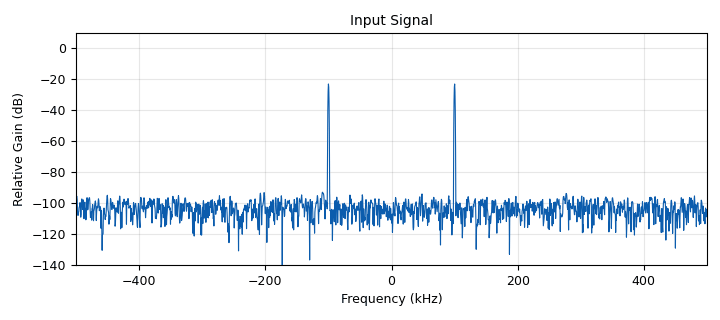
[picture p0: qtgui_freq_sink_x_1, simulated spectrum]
options:
  parameters:
    author: Alekh Gupta
    generate_options: qt_gui
    id: Check
    output_language: python
    title: Non-linear_Two_Tone_Setup
  states: {}

blocks:
- name: K_a
  id: variable_qtgui_range
  parameters:
    gui_hint: '[5,0,1,1]'
    rangeType: int
    start: '1'
    step: '1'
    stop: '10'
    value: '1'
  states: {}
- name: K_b
  id: variable_qtgui_range
  parameters:
    gui_hint: '[5,1,1,1]'
    rangeType: int
    start: '1'
    step: '1'
    stop: '5'
    value: '1'
  states: {}
- name: L_a
  id: variable_qtgui_range
  parameters:
    gui_hint: '[6,0,1,1]'
    rangeType: int
    start: '1'
    step: '1'
    stop: '10'
    value: '1'
  states: {}
- name: L_b
  id: variable_qtgui_range
  parameters:
    gui_hint: '[7,1,1,1]'
    rangeType: int
    start: '1'
    step: '1'
    stop: '5'
    value: '1'
  states: {}
- name: M_b
  id: variable_qtgui_range
  parameters:
    gui_hint: '[6,1,1,1]'
    rangeType: int
    start: '1'
    step: '1'
    stop: '5'
    value: '1'
  states: {}
- name: samp_rate
  id: variable
  parameters:
    value: '1000000'
  states: {}
- name: tone_param_0
  id: variable_qtgui_range
  parameters:
    gui_hint: '[0,0,1,1]'
    label: Tone_Spacing/Freq.
    rangeType: int
    start: '0'
    step: '1000'
    stop: '500000'
    value: '100000'
  states: {}
- name: tone_param_1
  id: variable_qtgui_range
  parameters:
    gui_hint: '[0,1,1,1]'
    label: Amplitude
    start: '0'
    step: '0.01'
    stop: '3'
    value: '0.2'
  states: {}
- name: analog_fastnoise_source_x_0
  id: analog_fastnoise_source_x
  parameters:
    amp: '0.00075'
    noise_type: analog.GR_GAUSSIAN
    samples: '8192'
    seed: '0'
    type: complex
  states: {}
- name: analog_sig_source_x_0
  id: analog_sig_source_x
  parameters:
    amp: tone_param_1
    freq: tone_param_0
    offset: '0'
    phase: '0'
    samp_rate: samp_rate
    type: complex
    waveform: analog.GR_COS_WAVE
  states: {}
- name: analog_sig_source_x_1
  id: analog_sig_source_x
  parameters:
    amp: tone_param_1
    freq: '-tone_param_0'
    offset: '0'
    phase: '0'
    samp_rate: samp_rate
    type: complex
    waveform: analog.GR_COS_WAVE
  states: {}
- name: blocks_add_xx_0
  id: blocks_add_xx
  parameters:
    num_inputs: '3'
    type: complex
  states: {}
- name: blocks_throttle2_0
  id: blocks_throttle2
  parameters:
    samples_per_second: samp_rate
    type: complex
  states: {}
- name: dpd_GMP_model_PA_0
  id: dpd_GMP_model_PA
  parameters:
    coeff1: (1, 1, 1, 1, 1, 1, 1, 1, 1, 1, 1, 1, 1, 1, 1, 1, 1, 1, 1, 1, 1, 1, 1, 1, 1, 1, 1, 1, 1, 1, 1, 1, 1, 1, 1, 1, 1, 1, 1, 1, 1, 1, 1, 1, 1, 1, 1, 1, 1, 1, 1, 1, 1, 1, 1, 1, 1, 1, 1, 1, 1, 1, 1, 1, 1, 1, 1, 1, 1, 1, 1, 1, 1, 1, 1, 1, 1, 1, 1, 1, 1, 1, 1, 1, 1, 1, 1, 1, 1, 1, 1, 1, 1, 1, 1, 1, 1, 1, 1, 1, 1, 1, 1, 1, 1, 1, 1, 1, 1, 1, 1, 1, 1, 1, 1, 1, 1, 1, 1, 1, 1, 1, 1, 1, 1)
    coeff2: (1, 1, 1, 1, 1, 1, 1, 1, 1, 1, 1, 1, 1, 1, 1, 1, 1, 1, 1, 1, 1, 1, 1, 1, 1, 1, 1, 1, 1, 1, 1, 1, 1, 1, 1, 1, 1, 1, 1, 1, 1, 1, 1, 1, 1, 1, 1, 1, 1, 1, 1, 1, 1, 1, 1, 1, 1, 1, 1, 1, 1, 1, 1, 1, 1, 1, 1, 1, 1, 1, 1, 1, 1, 1, 1, 1, 1, 1, 1, 1, 1, 1, 1, 1, 1, 1, 1, 1, 1, 1, 1, 1, 1, 1, 1, 1, 1, 1, 1, 1, 1, 1, 1, 1, 1, 1, 1, 1, 1, 1, 1, 1, 1, 1, 1, 1, 1, 1, 1, 1, 1, 1, 1, 1, 1)
    mode: Both
    model_param1: K_a
    model_param2: L_a
    model_param3: K_b
    model_param4: M_b
    model_param5: L_b
  states: {}
- name: qtgui_freq_sink_x_0
  id: qtgui_freq_sink_x
  parameters:
    bw: samp_rate
    fc: '0'
    fftsize: '2048'
    grid: 'True'
    gui_hint: '[1,1,4,1]'
    name: '"Output Signal"'
    type: complex
  states: {}
- name: qtgui_freq_sink_x_1
  id: qtgui_freq_sink_x
  parameters:
    bw: samp_rate
    fc: '0'
    fftsize: '2048'
    gui_hint: '[1,0,4,1]'
    name: '"Input Signal"'
    type: complex
  states: {}

connections:
- [analog_fastnoise_source_x_0, '0', blocks_add_xx_0, '2']
- [analog_sig_source_x_0, '0', blocks_add_xx_0, '0']
- [analog_sig_source_x_1, '0', blocks_add_xx_0, '1']
- [blocks_add_xx_0, '0', blocks_throttle2_0, '0']
- [blocks_throttle2_0, '0', dpd_GMP_model_PA_0, '0']
- [blocks_throttle2_0, '0', qtgui_freq_sink_x_1, '0']
- [dpd_GMP_model_PA_0, '0', qtgui_freq_sink_x_0, '0']

metadata:
  file_format: 1
  grc_version: 3.10.10.0
